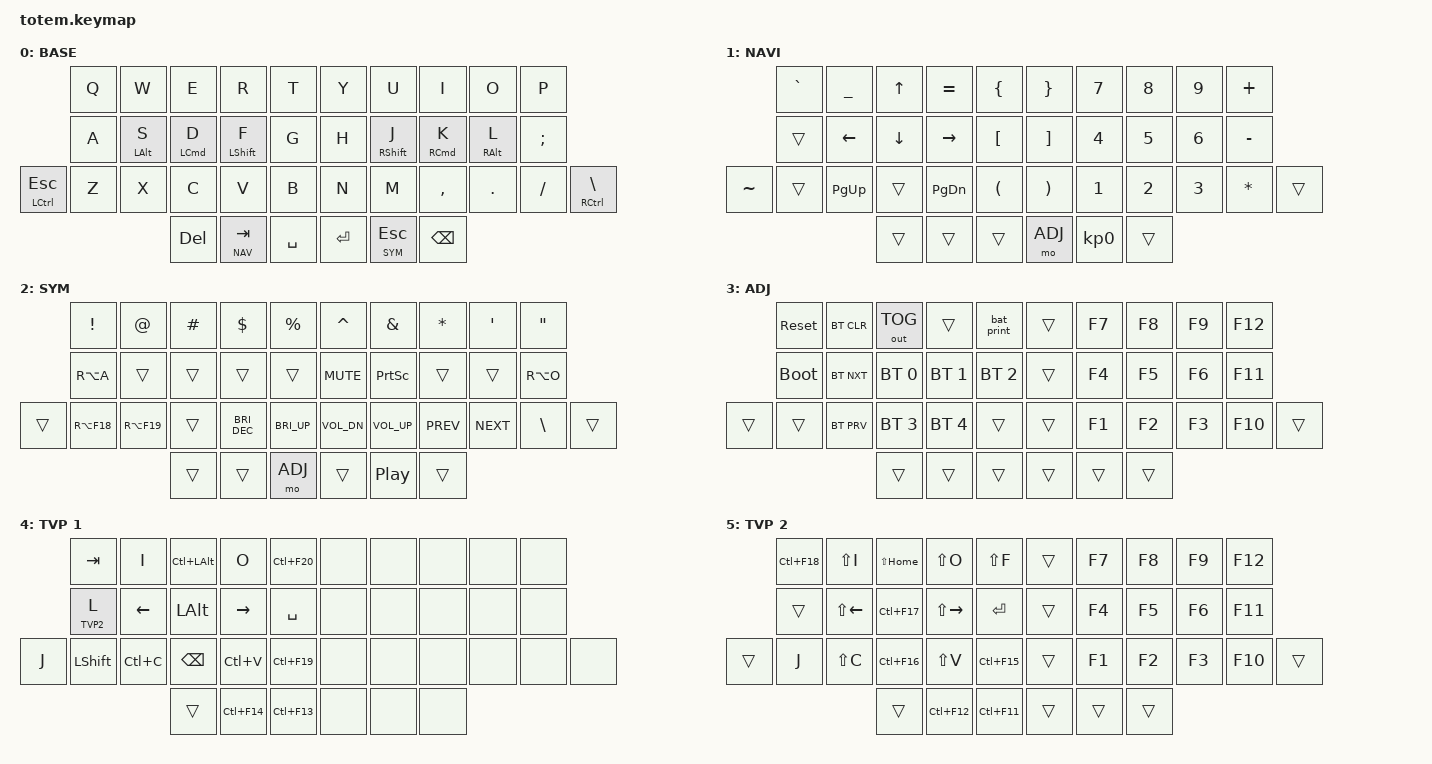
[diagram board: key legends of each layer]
//
//                                                        ▀▀▀▀▀     ▀▀▀▀▀          ▀▀█▀▀
//                                                        ▄▀▀▀▄  ▄  ▄▀▀▀▄  ▄  ▄▀▀▀▄  █  ▄▀▀▀▄
//                                                        █   █  █  █   █  █  █   █  █  █   █
//                                                         ▀▀▀   █   ▀▀▀   █   ▀▀▀   ▀   ▀▀▀
//                                                               █      ▄▄▄█▄▄▄    █   █  
//                                                               ▀      █  █  █     █▄█
//                                                             ▀▀▀▀▀    █  █  █      ▀
//                                                                      ▀  ▀  ▀
//
// ▄▄▄▄▄▄▄▄▄▄▄▄▄▄▄▄▄▄▄▄▄▄▄▄▄▄▄▄▄▄▄▄▄▄▄▄▄▄▄▄▄▄▄▄▄▄▄▄▄▄▄▄▄▄▄▄▄▄▄▄▄▄▄▄▄▄▄▄▄▄▄▄▄▄▄▄▄▄▄▄▄▄▄▄▄▄▄▄▄▄▄▄▄▄▄▄▄▄▄▄▄▄▄▄▄▄▄▄▄▄▄▄▄▄▄▄▄▄▄▄▄▄▄▄▄▄▄▄▄▄▄▄▄▄▄▄▄▄▄▄▄▄▄▄▄▄▄▄▄

#include <behaviors.dtsi>
#include <dt-bindings/zmk/bt.h>
#include <dt-bindings/zmk/keys.h>
#include <dt-bindings/zmk/outputs.h>
#include <behaviors/bat_print.dtsi>

#define BASE 0
#define NAV  1
#define SYM  2
#define ADJ  3
#define TVP1 4
#define TVP2 5

&mt {
    quick-tap-ms = <150>;
    global-quick-tap;
    flavor = "tap-preferred";
    tapping-term-ms = <170>;
};

/ {
    combos {
        compatible = "zmk,combos";

        combo_esc {
            timeout-ms = <50>;
            key-positions = <0 1>;
            bindings = <&kp ESC>;
        };

        combo_tvp {
            timeout-ms = <100>;
            key-positions = <11 12 13>;
            bindings = <&tog TVP1>;
        };
    };

    behaviors {
        mt_left: mt_left {
            compatible = "zmk,behavior-hold-tap";
            label = "MT_LEFT";
            bindings = <&kp>, <&kp>;

            #binding-cells = <2>;
            tapping-term-ms = <400>;
            quick-tap-ms = <170>;
            require-prior-idle-ms = <50>;
            flavor = "balanced";
            hold-trigger-key-positions = <32 33 34 35 36 37 26 15 5 6 16 27 28 17 7 8 18 29 19 30 9 31>;
            hold-trigger-on-release;
        };

        mt_right: mt_right {
            compatible = "zmk,behavior-hold-tap";
            label = "MT_RIGHT";
            bindings = <&kp>, <&kp>;

            #binding-cells = <2>;
            tapping-term-ms = <400>;
            quick-tap-ms = <170>;
            require-prior-idle-ms = <50>;
            flavor = "balanced";
            hold-trigger-key-positions = <37 36 35 33 32 34 25 14 4 3 13 24 23 12 2 1 11 22 21 10 0 20>;
            hold-trigger-on-release;
        };

        mt_shift_left: mt_shift_left {
            compatible = "zmk,behavior-hold-tap";
            label = "MT_SHIFT_LEFT";
            bindings = <&kp>, <&kp>;

            #binding-cells = <2>;
            tapping-term-ms = <175>;
            quick-tap-ms = <175>;
            require-prior-idle-ms = <20>;
            flavor = "tap-preferred";
            hold-trigger-key-positions = <32 34 33 35 36 37 26 15 5 6 16 27 28 17 7 8 18 29 9 19 30 31>;
        };

        mt_shift_right: mt_shift_right {
            compatible = "zmk,behavior-hold-tap";
            label = "MT_SHIFT_RIGHT";
            bindings = <&kp>, <&kp>;

            #binding-cells = <2>;
            tapping-term-ms = <175>;
            quick-tap-ms = <175>;
            require-prior-idle-ms = <20>;
            flavor = "tap-preferred";
            hold-trigger-key-positions = <32 34 33 35 36 37 10 21 20 0 22 11 1 2 12 24 23 13 3 4 25 14>;
        };

        mt_all: mt_all {
            compatible = "zmk,behavior-hold-tap";
            label = "MT_ALL";
            bindings = <&kp>, <&kp>;

            #binding-cells = <2>;
            tapping-term-ms = <175>;
            quick-tap-ms = <175>;
            require-prior-idle-ms = <35>;
            flavor = "balanced";
            hold-trigger-on-release;
        };
    };

    keymap {
        compatible = "zmk,keymap";

        // ▄▄▄▄▄▄▄▄▄▄▄▄▄▄▄▄▄▄▄▄▄▄▄▄▄▄▄▄▄▄▄▄▄▄▄▄▄▄▄▄▄▄▄▄▄▄▄▄▄▄▄▄▄▄▄▄▄▄▄▄▄▄▄▄▄▄▄▄▄▄▄▄▄▄▄▄▄▄▄▄▄▄▄▄▄▄▄▄▄▄▄▄▄▄▄▄▄▄▄▄▄▄▄▄▄▄▄▄▄▄▄▄▄▄▄▄▄▄▄▄▄▄▄▄▄▄▄▄▄▄▄▄▄▄▄▄▄▄▄▄▄▄▄▄▄▄▄▄▄

        base_layer {
            // ┏━━━━━━━━━━━━━━━━━━━━━━━━━━━━━━━━━━━━━━━┓

            label = "BASE";

            // ┗━━━━━━━━━━━━━━━━━━━━━━━━━━━━━━━━━━━━━━━┛
            //             ┏━━━━━━━━━━━┳━━━━━━━━━━━┳━━━━━━━━━━━┳━━━━━━━━━━━┳━━━━━━━━━━━┓   ┏━━━━━━━━━━━┳━━━━━━━━━━━┳━━━━━━━━━━━┳━━━━━━━━━━━┳━━━━━━━━━━━┓
            //             ┃     Q     ┃     W     ┃     E     ┃     R     ┃     T     ┃   ┃     Y     ┃     U     ┃     I     ┃     O     ┃     P     ┃
            //             ┣━━━━━━━━━━━╋━━━━━━━━━━━╋━━━━━━━━━━━╋━━━━━━━━━━━╋━━━━━━━━━━━┫   ┣━━━━━━━━━━━╋━━━━━━━━━━━╋━━━━━━━━━━━╋━━━━━━━━━━━╋━━━━━━━━━━━┫
            //             ┃     A     ┃     S     ┃     D     ┃     F     ┃     G     ┃   ┃     H     ┃     J     ┃     K     ┃     L     ┃     ;     ┃
            // ┏━━━━━━━━━━━╋━━━━━━━━━━━╋━━━━━━━━━━━╋━━━━━━━━━━━╋━━━━━━━━━━━╋━━━━━━━━━━━┫   ┣━━━━━━━━━━━╋━━━━━━━━━━━╋━━━━━━━━━━━╋━━━━━━━━━━━╋━━━━━━━━━━━╋━━━━━━━━━━━┓
            // ┃     Q     ┃     Z     ┃     X     ┃     C     ┃     V     ┃     B     ┃   ┃     N     ┃     M     ┃     ,     ┃     .     ┃     /     ┃     \     ┃
            // ┗━━━━━━━━━━━┻━━━━━━━━━━━┻━━━━━━━━━━━╋━━━━━━━━━━━╋━━━━━━━━━━━╋━━━━━━━━━━━┫   ┣━━━━━━━━━━━╋━━━━━━━━━━━╋━━━━━━━━━━━╋━━━━━━━━━━━┻━━━━━━━━━━━┻━━━━━━━━━━━┛
            //                                     ┃    DEL    ┃    TAB    ┃    SPC    ┃   ┃   ENTER   ┃           ┃   BSPC    ┃
            //                                     ┗━━━━━━━━━━━┻━━━━━━━━━━━┻━━━━━━━━━━━┛   ┗━━━━━━━━━━━┻━━━━━━━━━━━┻━━━━━━━━━━━┛

            bindings = <
                   &kp Q  &kp W                  &kp E                    &kp R                   &kp T        &kp Y    &kp U                    &kp I                      &kp O                   &kp P
                   &kp A  &mt_shift_left LALT S  &mt_left LEFT_COMMAND D  &mt_shift_left LSHFT F  &kp G        &kp H    &mt_shift_right RSHFT J  &mt_right RIGHT_COMMAND K  &mt_shift_right RALT L  &kp SEMICOLON
&mt_all LCTRL ESC  &kp Z  &kp X                  &kp C                    &kp V                   &kp B        &kp N    &kp M                    &kp COMMA                  &kp DOT                 &kp FSLH       &mt_all RCTRL BACKSLASH
                                                 &kp DEL                  &lt NAV TAB             &kp SPACE    &kp RET  &lt SYM ESC              &kp BSPC
            >;
        };

        // ▄▄▄▄▄▄▄▄▄▄▄▄▄▄▄▄▄▄▄▄▄▄▄▄▄▄▄▄▄▄▄▄▄▄▄▄▄▄▄▄▄▄▄▄▄▄▄▄▄▄▄▄▄▄▄▄▄▄▄▄▄▄▄▄▄▄▄▄▄▄▄▄▄▄▄▄▄▄▄▄▄▄▄▄▄▄▄▄▄▄▄▄▄▄▄▄▄▄▄▄▄▄▄▄▄▄▄▄▄▄▄▄▄▄▄▄▄▄▄▄▄▄▄▄▄▄▄▄▄▄▄▄▄▄▄▄▄▄▄▄▄▄▄▄▄▄▄▄▄

        nav_layer {
            // ┏━━━━━━━━━━━━━━━━━━━━━━━━━━━━━━━━━━━━━━━┓

            label = "NAVI";

            // ┗━━━━━━━━━━━━━━━━━━━━━━━━━━━━━━━━━━━━━━━┛
            //             ┏━━━━━━━━━━━┳━━━━━━━━━━━┳━━━━━━━━━━━┳━━━━━━━━━━━┳━━━━━━━━━━━┓   ┏━━━━━━━━━━━┳━━━━━━━━━━━┳━━━━━━━━━━━┳━━━━━━━━━━━┳━━━━━━━━━━━┓
            //             ┃           ┃           ┃     UP    ┃           ┃     {     ┃   ┃     }     ┃     7     ┃     8     ┃     9     ┃     +     ┃
            //             ┣━━━━━━━━━━━╋━━━━━━━━━━━╋━━━━━━━━━━━╋━━━━━━━━━━━╋━━━━━━━━━━━┫   ┣━━━━━━━━━━━╋━━━━━━━━━━━╋━━━━━━━━━━━╋━━━━━━━━━━━╋━━━━━━━━━━━┫
            //             ┃   SHIFT   ┃   LEFT    ┃    DOWN   ┃   RIGHT   ┃     [     ┃   ┃     ]     ┃     4     ┃     5     ┃     6     ┃     -     ┃
            // ┏━━━━━━━━━━━╋━━━━━━━━━━━╋━━━━━━━━━━━╋━━━━━━━━━━━╋━━━━━━━━━━━╋━━━━━━━━━━━┫   ┣━━━━━━━━━━━╋━━━━━━━━━━━╋━━━━━━━━━━━╋━━━━━━━━━━━╋━━━━━━━━━━━╋━━━━━━━━━━━┓
            // ┃           ┃           ┃   P UP    ┃  C LOCK   ┃  P DOWN   ┃     (     ┃   ┃     )     ┃     1     ┃     2     ┃     3     ┃     *     ┃           ┃
            // ┗━━━━━━━━━━━┻━━━━━━━━━━━┻━━━━━━━━━━━╋━━━━━━━━━━━╋━━━━━━━━━━━╋━━━━━━━━━━━┫   ┣━━━━━━━━━━━╋━━━━━━━━━━━╋━━━━━━━━━━━╋━━━━━━━━━━━┻━━━━━━━━━━━┻━━━━━━━━━━━┛
            //                                     ┃           ┃    TAB    ┃    SPC    ┃   ┃    DEL    ┃     0     ┃           ┃
            //                                     ┗━━━━━━━━━━━┻━━━━━━━━━━━┻━━━━━━━━━━━┛   ┗━━━━━━━━━━━┻━━━━━━━━━━━┻━━━━━━━━━━━┛

            bindings = <
           &kp GRAVE  &kp UNDER  &kp UP    &kp EQUAL  &kp LBRC    &kp RBRC  &kp N7     &kp N8  &kp N9  &kp PLUS
           &trans     &kp LEFT   &kp DOWN  &kp RIGHT  &kp LBKT    &kp RBKT  &kp N4     &kp N5  &kp N6  &kp MINUS
&kp TILDE  &trans     &kp PG_UP  &trans    &kp PG_DN  &kp LPAR    &kp RPAR  &kp N1     &kp N2  &kp N3  &kp ASTERISK  &trans
                                 &trans    &trans     &trans      &mo ADJ   &kp KP_N0  &trans
            >;
        };

        // ▄▄▄▄▄▄▄▄▄▄▄▄▄▄▄▄▄▄▄▄▄▄▄▄▄▄▄▄▄▄▄▄▄▄▄▄▄▄▄▄▄▄▄▄▄▄▄▄▄▄▄▄▄▄▄▄▄▄▄▄▄▄▄▄▄▄▄▄▄▄▄▄▄▄▄▄▄▄▄▄▄▄▄▄▄▄▄▄▄▄▄▄▄▄▄▄▄▄▄▄▄▄▄▄▄▄▄▄▄▄▄▄▄▄▄▄▄▄▄▄▄▄▄▄▄▄▄▄▄▄▄▄▄▄▄▄▄▄▄▄▄▄▄▄▄▄▄▄▄

        sim_layer {
            // ┏━━━━━━━━━━━━━━━━━━━━━━━━━━━━━━━━━━━━━━━┓

            label = "SYM";

            // ┗━━━━━━━━━━━━━━━━━━━━━━━━━━━━━━━━━━━━━━━┛
            //             ┏━━━━━━━━━━━┳━━━━━━━━━━━┳━━━━━━━━━━━┳━━━━━━━━━━━┳━━━━━━━━━━━┓   ┏━━━━━━━━━━━┳━━━━━━━━━━━┳━━━━━━━━━━━┳━━━━━━━━━━━┳━━━━━━━━━━━┓
            //             ┃     !     ┃     @     ┃     #     ┃     $     ┃     %     ┃   ┃     ˆ     ┃     &     ┃     Ü     ┃     '     ┃     "     ┃
            //             ┣━━━━━━━━━━━╋━━━━━━━━━━━╋━━━━━━━━━━━╋━━━━━━━━━━━╋━━━━━━━━━━━┫   ┣━━━━━━━━━━━╋━━━━━━━━━━━╋━━━━━━━━━━━╋━━━━━━━━━━━╋━━━━━━━━━━━┫
            //             ┃     Ä     ┃           ┃    SZ     ┃           ┃           ┃   ┃   MUTE    ┃   YEN     ┃   EURO    ┃  POUND    ┃     Ö     ┃
            // ┏━━━━━━━━━━━╋━━━━━━━━━━━╋━━━━━━━━━━━╋━━━━━━━━━━━╋━━━━━━━━━━━╋━━━━━━━━━━━┫   ┣━━━━━━━━━━━╋━━━━━━━━━━━╋━━━━━━━━━━━╋━━━━━━━━━━━╋━━━━━━━━━━━╋━━━━━━━━━━━┓
            // ┃           ┃  EMAIL1   ┃  EMAIL2   ┃           ┃           ┃           ┃   ┃   VOL-    ┃   VOL+    ┃   LAST    ┃   NEXT    ┃     \     ┃           ┃
            // ┗━━━━━━━━━━━┻━━━━━━━━━━━┻━━━━━━━━━━━╋━━━━━━━━━━━╋━━━━━━━━━━━╋━━━━━━━━━━━┫   ┣━━━━━━━━━━━╋━━━━━━━━━━━╋━━━━━━━━━━━╋━━━━━━━━━━━┻━━━━━━━━━━━┻━━━━━━━━━━━┛
            //                                     ┃           ┃    GIF    ┃    ADJ    ┃   ┃           ┃           ┃           ┃
            //                                     ┗━━━━━━━━━━━┻━━━━━━━━━━━┻━━━━━━━━━━━┛   ┗━━━━━━━━━━━┻━━━━━━━━━━━┻━━━━━━━━━━━┛

            bindings = <
        &kp EXCL     &kp AT       &kp HASH  &kp DLLR       &kp PRCNT       &kp CARET     &kp AMPS         &kp ASTERISK  &kp SQT     &kp DQT
        &kp RA(A)    &trans       &trans    &trans         &trans          &kp C_MUTE    &kp PRINTSCREEN  &trans        &trans      &kp RA(O)
&trans  &kp RA(F18)  &kp RA(F19)  &trans    &kp C_BRI_DEC  &kp C_BRI_UP    &kp C_VOL_DN  &kp C_VOL_UP     &kp C_PREV    &kp C_NEXT  &kp BSLH   &trans
                                  &trans    &trans         &mo ADJ         &trans        &kp C_PP         &trans
            >;
        };

        // ▄▄▄▄▄▄▄▄▄▄▄▄▄▄▄▄▄▄▄▄▄▄▄▄▄▄▄▄▄▄▄▄▄▄▄▄▄▄▄▄▄▄▄▄▄▄▄▄▄▄▄▄▄▄▄▄▄▄▄▄▄▄▄▄▄▄▄▄▄▄▄▄▄▄▄▄▄▄▄▄▄▄▄▄▄▄▄▄▄▄▄▄▄▄▄▄▄▄▄▄▄▄▄▄▄▄▄▄▄▄▄▄▄▄▄▄▄▄▄▄▄▄▄▄▄▄▄▄▄▄▄▄▄▄▄▄▄▄▄▄▄▄▄▄▄▄▄▄▄

        adjust_layer {
            // ┏━━━━━━━━━━━━━━━━━━━━━━━━━━━━━━━━━━━━━━━┓

            label = "ADJ";

            // ┗━━━━━━━━━━━━━━━━━━━━━━━━━━━━━━━━━━━━━━━┛
            //             ┏━━━━━━━━━━━┳━━━━━━━━━━━┳━━━━━━━━━━━┳━━━━━━━━━━━┳━━━━━━━━━━━┓   ┏━━━━━━━━━━━┳━━━━━━━━━━━┳━━━━━━━━━━━┳━━━━━━━━━━━┳━━━━━━━━━━━┓
            //             ┃   RESET   ┃ BT CLEAR  ┃  OUT TOG  ┃           ┃           ┃   ┃           ┃    F7     ┃    F8     ┃    F9     ┃    F12    ┃
            //             ┣━━━━━━━━━━━╋━━━━━━━━━━━╋━━━━━━━━━━━╋━━━━━━━━━━━╋━━━━━━━━━━━┫   ┣━━━━━━━━━━━╋━━━━━━━━━━━╋━━━━━━━━━━━╋━━━━━━━━━━━╋━━━━━━━━━━━┫
            //             ┃ BOOTLOAD  ┃ BT NEXT   ┃           ┃           ┃           ┃   ┃           ┃    F4     ┃    F5     ┃    F6     ┃    F11    ┃
            // ┏━━━━━━━━━━━╋━━━━━━━━━━━╋━━━━━━━━━━━╋━━━━━━━━━━━╋━━━━━━━━━━━╋━━━━━━━━━━━┫   ┣━━━━━━━━━━━╋━━━━━━━━━━━╋━━━━━━━━━━━╋━━━━━━━━━━━╋━━━━━━━━━━━╋━━━━━━━━━━━┓
            // ┃           ┃           ┃ BT PREV   ┃           ┃           ┃           ┃   ┃           ┃    F1     ┃    F2     ┃    F3     ┃    F10    ┃           ┃
            // ┗━━━━━━━━━━━┻━━━━━━━━━━━┻━━━━━━━━━━━╋━━━━━━━━━━━╋━━━━━━━━━━━╋━━━━━━━━━━━┫   ┣━━━━━━━━━━━╋━━━━━━━━━━━╋━━━━━━━━━━━╋━━━━━━━━━━━┻━━━━━━━━━━━┻━━━━━━━━━━━┛
            //                                     ┃           ┃           ┃           ┃   ┃           ┃           ┃           ┃
            //                                     ┗━━━━━━━━━━━┻━━━━━━━━━━━┻━━━━━━━━━━━┛   ┗━━━━━━━━━━━┻━━━━━━━━━━━┻━━━━━━━━━━━┛

            bindings = <
        &sys_reset   &bt BT_CLR  &out OUT_TOG  &trans        &bat_print      &trans  &kp F7  &kp F8  &kp F9  &kp F12
        &bootloader  &bt BT_NXT  &bt BT_SEL 0  &bt BT_SEL 1  &bt BT_SEL 2    &trans  &kp F4  &kp F5  &kp F6  &kp F11
&trans  &trans       &bt BT_PRV  &bt BT_SEL 3  &bt BT_SEL 4  &trans          &trans  &kp F1  &kp F2  &kp F3  &kp F10  &trans
                                 &trans        &trans        &trans          &trans  &trans  &trans
            >;
        };

        // ▄▄▄▄▄▄▄▄▄▄▄▄▄▄▄▄▄▄▄▄▄▄▄▄▄▄▄▄▄▄▄▄▄▄▄▄▄▄▄▄▄▄▄▄▄▄▄▄▄▄▄▄▄▄▄▄▄▄▄▄▄▄▄▄▄▄▄▄▄▄▄▄▄▄▄▄▄▄▄▄▄▄▄▄▄▄▄▄▄▄▄▄▄▄▄▄▄▄▄▄▄▄▄▄▄▄▄▄▄▄▄▄▄▄▄▄▄▄▄▄▄▄▄▄▄▄▄▄▄▄▄▄▄▄▄▄▄▄▄▄▄▄▄▄▄▄▄▄▄

        tvp1_layer {
            // ┏━━━━━━━━━━━━━━━━━━━━━━━━━━━━━━━━━━━━━━━┓

            label = "TVP 1";

            // ┗━━━━━━━━━━━━━━━━━━━━━━━━━━━━━━━━━━━━━━━┛
            //             ┏━━━━━━━━━━━┳━━━━━━━━━━━┳━━━━━━━━━━━┳━━━━━━━━━━━┳━━━━━━━━━━━┓   ┏━━━━━━━━━━━┳━━━━━━━━━━━┳━━━━━━━━━━━┳━━━━━━━━━━━┳━━━━━━━━━━━┓
            //             ┃ NEXT FILE ┃ MARK IN   ┃ ROTATE    ┃ MARK OUT  ┃ SHOW SNAP ┃   ┃           ┃           ┃           ┃           ┃           ┃
            //             ┣━━━━━━━━━━━╋━━━━━━━━━━━╋━━━━━━━━━━━╋━━━━━━━━━━━╋━━━━━━━━━━━┫   ┣━━━━━━━━━━━╋━━━━━━━━━━━╋━━━━━━━━━━━╋━━━━━━━━━━━╋━━━━━━━━━━━┫
            //             ┃ TVP II    ┃ LEFT      ┃ PAN       ┃ RIGHT     ┃ PLAY/FLIP ┃   ┃           ┃           ┃           ┃           ┃           ┃
            // ┏━━━━━━━━━━━╋━━━━━━━━━━━╋━━━━━━━━━━━╋━━━━━━━━━━━╋━━━━━━━━━━━╋━━━━━━━━━━━┫   ┣━━━━━━━━━━━╋━━━━━━━━━━━╋━━━━━━━━━━━╋━━━━━━━━━━━╋━━━━━━━━━━━╋━━━━━━━━━━━┓
            // ┃ FULLSCR   ┃ SHIFT     ┃ COPY      ┃ DELETE    ┃ PASTE     ┃ IMG MARK  ┃   ┃           ┃           ┃           ┃           ┃           ┃           ┃
            // ┗━━━━━━━━━━━┻━━━━━━━━━━━┻━━━━━━━━━━━╋━━━━━━━━━━━╋━━━━━━━━━━━╋━━━━━━━━━━━┫   ┣━━━━━━━━━━━╋━━━━━━━━━━━╋━━━━━━━━━━━╋━━━━━━━━━━━┻━━━━━━━━━━━┻━━━━━━━━━━━┛
            //                                     ┃           ┃ UNDO/SAVE ┃  SEL/MOV  ┃   ┃           ┃           ┃           ┃
            //                                     ┗━━━━━━━━━━━┻━━━━━━━━━━━┻━━━━━━━━━━━┛   ┗━━━━━━━━━━━┻━━━━━━━━━━━┻━━━━━━━━━━━┛

            bindings = <
       &kp TAB     &kp I      &kp LC(LALT)  &kp O        &kp LC(F20)    &none  &none  &none  &none  &none
       &lt TVP2 L  &kp LEFT   &kp LALT      &kp RIGHT    &kp SPACE      &none  &none  &none  &none  &none
&kp J  &kp LSHFT   &kp LC(C)  &kp BSPC      &kp LC(V)    &kp LC(F19)    &none  &none  &none  &none  &none  &none
                              &trans        &kp LC(F14)  &kp LC(F13)    &none  &none  &none
            >;
        };

        // ▄▄▄▄▄▄▄▄▄▄▄▄▄▄▄▄▄▄▄▄▄▄▄▄▄▄▄▄▄▄▄▄▄▄▄▄▄▄▄▄▄▄▄▄▄▄▄▄▄▄▄▄▄▄▄▄▄▄▄▄▄▄▄▄▄▄▄▄▄▄▄▄▄▄▄▄▄▄▄▄▄▄▄▄▄▄▄▄▄▄▄▄▄▄▄▄▄▄▄▄▄▄▄▄▄▄▄▄▄▄▄▄▄▄▄▄▄▄▄▄▄▄▄▄▄▄▄▄▄▄▄▄▄▄▄▄▄▄▄▄▄▄▄▄▄▄▄▄▄

        tvp2_layer {
            // ┏━━━━━━━━━━━━━━━━━━━━━━━━━━━━━━━━━━━━━━━┓

            label = "TVP 2";

            // ┗━━━━━━━━━━━━━━━━━━━━━━━━━━━━━━━━━━━━━━━┛
            //             ┏━━━━━━━━━━━┳━━━━━━━━━━━┳━━━━━━━━━━━┳━━━━━━━━━━━┳━━━━━━━━━━━┓   ┏━━━━━━━━━━━┳━━━━━━━━━━━┳━━━━━━━━━━━┳━━━━━━━━━━━┳━━━━━━━━━━━┓
            //             ┃ SOLO      ┃ TOGGLE IN ┃ RESET ROT ┃ TOGGLE OUT┃ TAKE SNAP ┃   ┃           ┃           ┃           ┃           ┃           ┃
            //             ┣━━━━━━━━━━━╋━━━━━━━━━━━╋━━━━━━━━━━━╋━━━━━━━━━━━╋━━━━━━━━━━━┫   ┣━━━━━━━━━━━╋━━━━━━━━━━━╋━━━━━━━━━━━╋━━━━━━━━━━━╋━━━━━━━━━━━┫
            //             ┃ ---       ┃ LAST KEY  ┃ NEW KEY   ┃ NEXT KEY  ┃ ENTER     ┃   ┃           ┃           ┃           ┃           ┃           ┃
            // ┏━━━━━━━━━━━╋━━━━━━━━━━━╋━━━━━━━━━━━╋━━━━━━━━━━━╋━━━━━━━━━━━╋━━━━━━━━━━━┫   ┣━━━━━━━━━━━╋━━━━━━━━━━━╋━━━━━━━━━━━╋━━━━━━━━━━━╋━━━━━━━━━━━╋━━━━━━━━━━━┓
            // ┃           ┃ FULLSCR   ┃ CPY2BRUSH ┃ DEL HEAD  ┃ PSTinPLACE┃ BOOK MARK ┃   ┃           ┃           ┃           ┃           ┃           ┃           ┃
            // ┗━━━━━━━━━━━┻━━━━━━━━━━━┻━━━━━━━━━━━╋━━━━━━━━━━━╋━━━━━━━━━━━╋━━━━━━━━━━━┫   ┣━━━━━━━━━━━╋━━━━━━━━━━━╋━━━━━━━━━━━╋━━━━━━━━━━━┻━━━━━━━━━━━┻━━━━━━━━━━━┛
            //                                     ┃           ┃ REDO/SAV1 ┃TRANS/WARP ┃   ┃           ┃           ┃           ┃
            //                                     ┗━━━━━━━━━━━┻━━━━━━━━━━━┻━━━━━━━━━━━┛   ┗━━━━━━━━━━━┻━━━━━━━━━━━┻━━━━━━━━━━━┛

            bindings = <
        &kp LC(F18)  &kp LS(I)     &kp LS(HOME)  &kp LS(O)      &kp LS(F)      &trans  &kp F7  &kp F8  &kp F9  &kp F12
        &trans       &kp LS(LEFT)  &kp LC(F17)   &kp LS(RIGHT)  &kp RET        &trans  &kp F4  &kp F5  &kp F6  &kp F11
&trans  &kp J        &kp LS(C)     &kp LC(F16)   &kp LS(V)      &kp LC(F15)    &trans  &kp F1  &kp F2  &kp F3  &kp F10  &trans
                                   &trans        &kp LC(F12)    &kp LC(F11)    &trans  &trans  &trans
            >;
        };
    };
};
